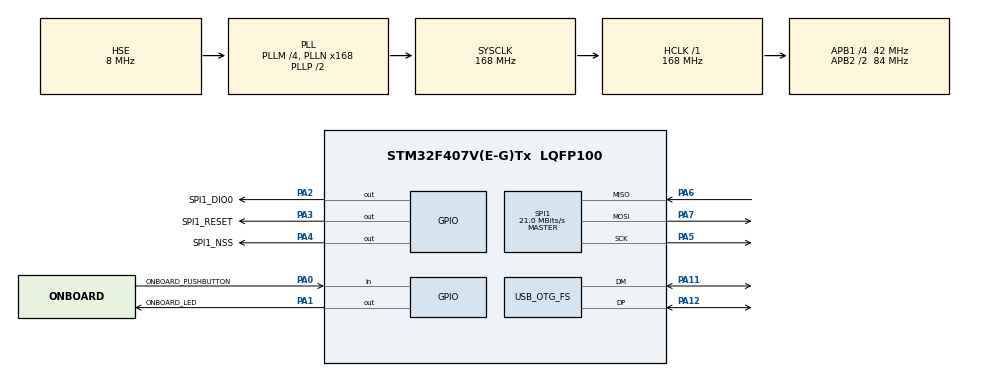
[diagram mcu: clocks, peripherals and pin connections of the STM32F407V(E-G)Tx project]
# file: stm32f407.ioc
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Mcu.Family=STM32F4
Mcu.Name=STM32F407V(E-G)Tx
Mcu.Package=LQFP100
NVIC.OTG_FS_IRQn=true\:0\:0\:false\:false\:true\:false\:true
NVIC.PriorityGroup=NVIC_PRIORITYGROUP_4
PA0-WKUP.GPIO_Label=ONBOARD_PUSHBUTTON
PA0-WKUP.GPIO_PuPd=GPIO_PULLDOWN
PA0-WKUP.Signal=GPIO_Input
PA1.GPIO_Label=ONBOARD_LED
PA1.GPIO_PuPd=GPIO_NOPULL
PA1.Signal=GPIO_Output
PA11.Mode=Device_Only
PA11.Signal=USB_OTG_FS_DM
PA12.Mode=Device_Only
PA12.Signal=USB_OTG_FS_DP
PA13.Mode=Serial_Wire
PA13.Signal=SYS_JTMS-SWDIO
PA14.Mode=Serial_Wire
PA14.Signal=SYS_JTCK-SWCLK
PA2.GPIO_Label=SPI1_DIO0
PA2.GPIO_PuPd=GPIO_NOPULL
PA2.GPIO_Speed=GPIO_SPEED_FREQ_VERY_HIGH
PA2.PinState=GPIO_PIN_SET
PA2.Signal=GPIO_Output
PA3.GPIO_Label=SPI1_RESET
PA3.GPIO_PuPd=GPIO_NOPULL
PA3.GPIO_Speed=GPIO_SPEED_FREQ_VERY_HIGH
PA3.PinState=GPIO_PIN_SET
PA3.Signal=GPIO_Output
PA4.GPIO_Label=SPI1_NSS
PA4.GPIO_PuPd=GPIO_NOPULL
PA4.GPIO_Speed=GPIO_SPEED_FREQ_VERY_HIGH
PA4.PinState=GPIO_PIN_SET
PA4.Signal=GPIO_Output
PA5.Mode=Full_Duplex_Master
PA5.Signal=SPI1_SCK
PA6.Mode=Full_Duplex_Master
PA6.Signal=SPI1_MISO
PA7.Mode=Full_Duplex_Master
PA7.Signal=SPI1_MOSI
PH0-OSC_IN.Mode=HSE-External-Oscillator
PH0-OSC_IN.Signal=RCC_OSC_IN
PH1-OSC_OUT.Mode=HSE-External-Oscillator
PH1-OSC_OUT.Signal=RCC_OSC_OUT
ProjectManager.HeapSize=0x200
ProjectManager.StackSize=0x400
ProjectManager.TargetToolchain=Makefile
RCC.48MHZClocksFreq_Value=48000000
RCC.AHBFreq_Value=168000000
RCC.APB1CLKDivider=RCC_HCLK_DIV4
RCC.APB1Freq_Value=42000000
RCC.APB1TimFreq_Value=84000000
RCC.APB2CLKDivider=RCC_HCLK_DIV2
RCC.APB2Freq_Value=84000000
RCC.APB2TimFreq_Value=168000000
RCC.CortexFreq_Value=168000000
RCC.HCLKFreq_Value=168000000
RCC.HSE_VALUE=8000000
RCC.HSI_VALUE=16000000
RCC.LSE_VALUE=32768
RCC.PLLM=4
RCC.PLLN=168
RCC.PLLQ=7
RCC.SYSCLKFreq_VALUE=168000000
RCC.SYSCLKSource=RCC_SYSCLKSOURCE_PLLCLK
RCC.VCOOutputFreq_Value=336000000
SPI1.BaudRatePrescaler=SPI_BAUDRATEPRESCALER_4
SPI1.CLKPhase=SPI_PHASE_1EDGE
SPI1.CLKPolarity=SPI_POLARITY_LOW
SPI1.CRCCalculation=SPI_CRCCALCULATION_ENABLE
SPI1.CRCPolynomial=X1+X3+X0
SPI1.CalculateBaudRate=21.0 MBits/s
SPI1.Direction=SPI_DIRECTION_2LINES
SPI1.Mode=SPI_MODE_MASTER
SPI1.VirtualType=VM_MASTER
USB_DEVICE.CLASS_NAME_FS=CDC
USB_DEVICE.VirtualMode-CDC_FS=Cdc
USB_DEVICE.VirtualModeFS=Cdc_FS
USB_OTG_FS.VirtualMode=Device_Only
VP_USB_DEVICE_VS_USB_DEVICE_CDC_FS.Mode=CDC_FS
board=custom

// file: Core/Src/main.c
/* USER CODE BEGIN Header */
/**
  ******************************************************************************
  * @file           : main.c
  * @brief          : Main program body
  ******************************************************************************
  * @attention
  *
  * <h2><center>&copy; Copyright (c) 2021 STMicroelectronics.
  * All rights reserved.</center></h2>
  *
  * This software component is licensed by ST under BSD 3-Clause license,
  * the "License"; You may not use this file except in compliance with the
  * License. You may obtain a copy of the License at:
  *                        opensource.org/licenses/BSD-3-Clause
  *
  ******************************************************************************
  */
/* USER CODE END Header */
#include "main.h"
#include "spi.h"
#include "usb_device.h"
#include "gpio.h"

/* USER CODE BEGIN Includes */
#include "serial.h"
#include "string.h"
#include "LoRa.h"
/* USER CODE END Includes */

void SystemClock_Config(void);

int main(void)
{

  /* MCU Configuration--------------------------------------------------------*/

  /* Reset of all peripherals, Initializes the Flash interface and the Systick. */
  HAL_Init();

  /* Configure the system clock */
  SystemClock_Config();

  /* Initialize all configured peripherals */
  MX_GPIO_Init();
  MX_USB_DEVICE_Init();
  MX_SPI1_Init();
  /* USER CODE BEGIN 2 */

  int counter = 0;
  int status;

  LoRa myLora;
  myLora = newLoRa();

  myLora.frequency = 915;
  myLora.spredingFactor = SF_7;
  myLora.power = POWER_14db;

  myLora.CS_port = SPI1_NSS_GPIO_Port;
  myLora.CS_pin = SPI1_NSS_Pin;
  myLora.reset_port = SPI1_RESET_GPIO_Port;
  myLora.reset_pin = SPI1_RESET_Pin;
  myLora.DIO0_port = SPI1_DIO0_GPIO_Port;
  myLora.DIO0_pin = SPI1_DIO0_Pin;
  myLora.hSPIx = &hspi1;

  status = LoRa_init(&myLora);
  /* USER CODE END 2 */

  /* Infinite loop */
  /* USER CODE BEGIN WHILE */
  while (1)  {
    char*  send_data;
    send_data = "Hello world!";

    serial_printf("LoRa status: %d\n", status);
    serial_printf("Sending message...\n");
    HAL_GPIO_WritePin(ONBOARD_LED_GPIO_Port, ONBOARD_LED_Pin, GPIO_PIN_RESET);

    if(LoRa_transmit(&myLora, (uint8_t*)send_data, 12, 100) == 1){
      serial_printf("Success!\n");
    }

    serial_printf("Done.\n");
    HAL_GPIO_WritePin(ONBOARD_LED_GPIO_Port, ONBOARD_LED_Pin, GPIO_PIN_SET);
    HAL_Delay(1000);
    /* USER CODE END WHILE */

  }
}

void SystemClock_Config(void)
{
  RCC_OscInitTypeDef RCC_OscInitStruct = {0};
  RCC_ClkInitTypeDef RCC_ClkInitStruct = {0};

  /** Configure the main internal regulator output voltage
  */
  __HAL_RCC_PWR_CLK_ENABLE();
  __HAL_PWR_VOLTAGESCALING_CONFIG(PWR_REGULATOR_VOLTAGE_SCALE1);
  /** Initializes the RCC Oscillators according to the specified parameters
  * in the RCC_OscInitTypeDef structure.
  */
  RCC_OscInitStruct.OscillatorType = RCC_OSCILLATORTYPE_HSE;
  RCC_OscInitStruct.HSEState = RCC_HSE_ON;
  RCC_OscInitStruct.PLL.PLLState = RCC_PLL_ON;
  RCC_OscInitStruct.PLL.PLLSource = RCC_PLLSOURCE_HSE;
  RCC_OscInitStruct.PLL.PLLM = 4;
  RCC_OscInitStruct.PLL.PLLN = 168;
  RCC_OscInitStruct.PLL.PLLP = RCC_PLLP_DIV2;
  RCC_OscInitStruct.PLL.PLLQ = 7;
  if (HAL_RCC_OscConfig(&RCC_OscInitStruct) != HAL_OK)
  {
    Error_Handler();
  }
  /** Initializes the CPU, AHB and APB buses clocks
  */
  RCC_ClkInitStruct.ClockType = RCC_CLOCKTYPE_HCLK|RCC_CLOCKTYPE_SYSCLK
                              |RCC_CLOCKTYPE_PCLK1|RCC_CLOCKTYPE_PCLK2;
  RCC_ClkInitStruct.SYSCLKSource = RCC_SYSCLKSOURCE_PLLCLK;
  RCC_ClkInitStruct.AHBCLKDivider = RCC_SYSCLK_DIV1;
  RCC_ClkInitStruct.APB1CLKDivider = RCC_HCLK_DIV4;
  RCC_ClkInitStruct.APB2CLKDivider = RCC_HCLK_DIV2;

  if (HAL_RCC_ClockConfig(&RCC_ClkInitStruct, FLASH_LATENCY_5) != HAL_OK)
  {
    Error_Handler();
  }
}

void Error_Handler(void)
{
  __disable_irq();
  while (1)
  {
  }
}

/************************ (C) COPYRIGHT STMicroelectronics *****END OF FILE****/
